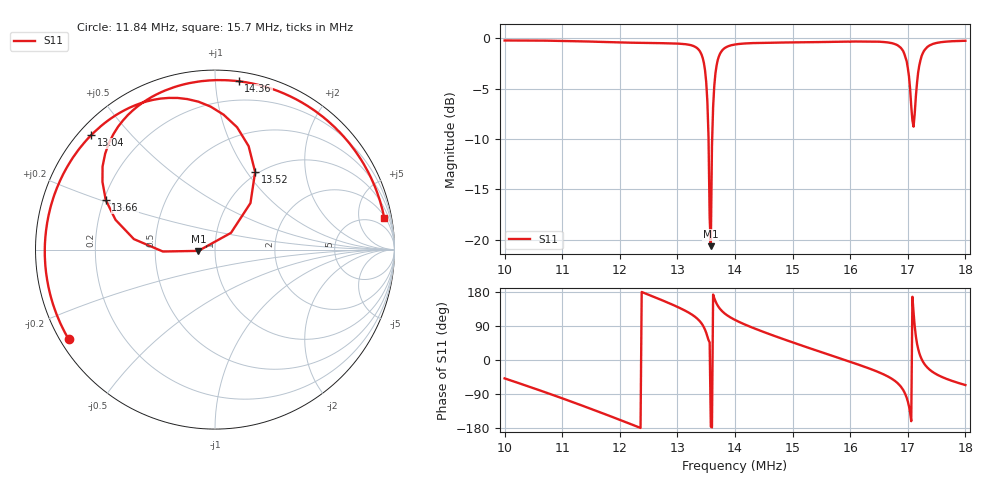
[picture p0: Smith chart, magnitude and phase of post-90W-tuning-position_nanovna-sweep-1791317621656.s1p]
! NanoVNA Web complex sweep
! Processing: original sample grid, no browser smoothing
# Hz S RI R 50
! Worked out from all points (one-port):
!   401 points, 10 MHz to 18 MHz, reference 50 ohm
!   lowest |S11| = -20.6 dB at 13.58 MHz (marker M1), VSWR 1.21, Z = 41.5 - j0.604 ohm
!   |S11| at or under -10 dB: 13.54064 MHz to 13.60377 MHz (63.13 kHz wide, 0.465 % of centre)
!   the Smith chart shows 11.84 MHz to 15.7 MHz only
!   S11 on the Smith chart (normalised r, x): 11.84 MHz: 0.02, -0.28; 13.04 MHz: 0.04, +0.39; 13.52 MHz: 0.97, +1.10; 13.66 MHz: 0.21, +0.21; 14.36 MHz: 0.06, +1.15; 15.7 MHz: 2, +10
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1e7  0.6451 -0.7308
1.1e7  -0.1867 -0.9522
1.184e7  -0.8158 -0.4989
1.2e7  -0.8834 -0.3587
1.252e7  -0.9353 0.1482
1.3e7  -0.7227 0.6023
1.304e7  -0.6908 0.6366
1.34e7  -0.1532 0.8384
1.348e7  0.123 0.6816
1.352e7  0.2235 0.4327
1.358e7  -0.0927 -0.00722
1.366e7  -0.6088 0.2768
1.378e7  -0.54 0.6849
1.4e7  -0.2531 0.896
1.436e7  0.1328 0.9378
1.5e7  0.656 0.6923
1.57e7  0.9435 0.1747
1.6e7  0.9569 -0.0816
1.67e7  0.6413 -0.6986
1.69e7  0.236 -0.8483
1.7e7  -0.2337 -0.6735
1.706e7  -0.4357 -0.1463
1.71e7  -0.2132 0.2952
1.714e7  0.2344 0.4575
1.722e7  0.7678 0.127
1.73e7  0.8577 -0.1965
1.754e7  0.7185 -0.6257
1.8e7  0.3938 -0.8878
